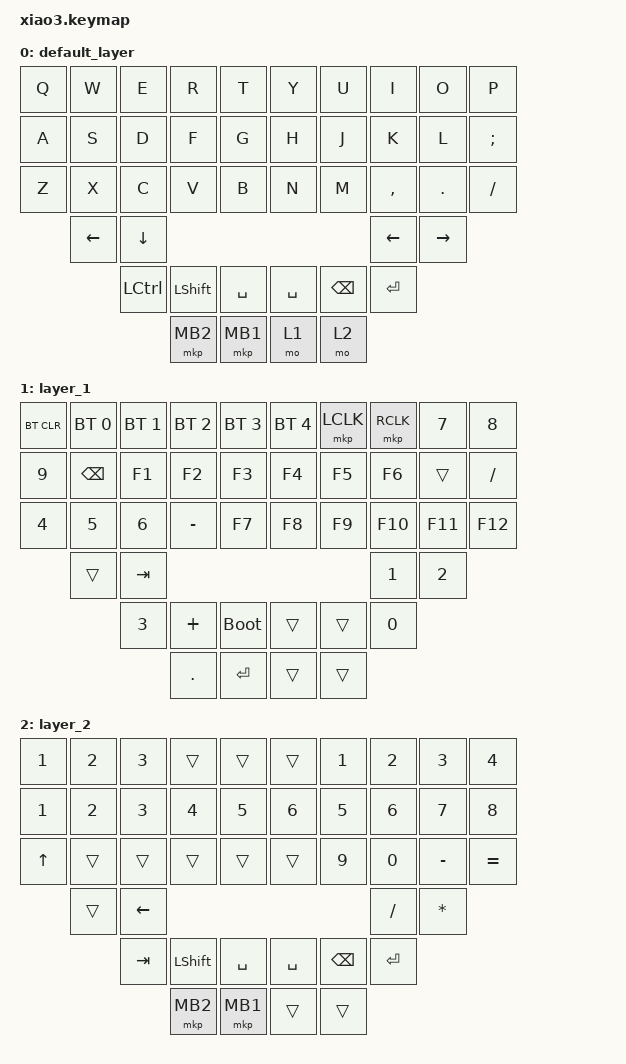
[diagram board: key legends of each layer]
/*
 * Copyright (c) 2020 The ZMK Contributors
 *
 * SPDX-License-Identifier: MIT
 */

#include <dt-bindings/led/led.h>
#include <behaviors/mouse_keys.dtsi>
#include <behaviors.dtsi>
#include <dt-bindings/zmk/bt.h>
#include <dt-bindings/zmk/keys.h>
#include <dt-bindings/zmk/mouse.h>

/ {
    keymap {
        compatible = "zmk,keymap";

        default_layer {
            bindings = <
&kp Q  &kp W           &kp E      &kp R           &kp T        &kp Y      &kp U          &kp I      &kp O      &kp P
&kp A  &kp S           &kp D      &kp F           &kp G        &kp H      &kp J          &kp K      &kp L      &kp SEMI
&kp Z  &kp X           &kp C      &kp V           &kp B        &kp N      &kp M          &kp COMMA  &kp DOT    &kp FSLH
       &kp LEFT_ARROW  &kp DOWN                                                          &kp LEFT   &kp RIGHT
                       &kp LCTRL  &kp LEFT_SHIFT  &kp SPACE    &kp SPACE  &kp BACKSPACE  &kp ENTER
                                  &mkp MB2        &mkp MB1     &mo 1      &mo 2
            >;
        };

        layer_1 {
            bindings = <
&bt BT_CLR  &bt BT_SEL 0  &bt BT_SEL 1  &bt BT_SEL 2  &bt BT_SEL 3    &bt BT_SEL 4  &mkp LCLK  &mkp RCLK  &kp N7   &kp N8
&kp N9      &kp BSPC      &kp F1        &kp F2        &kp F3          &kp F4        &kp F5     &kp F6     &trans   &kp FSLH
&kp N4      &kp N5        &kp N6        &kp MINUS     &kp F7          &kp F8        &kp F9     &kp F10    &kp F11  &kp F12
            &trans        &kp TAB                                                              &kp N1     &kp N2
                          &kp N3        &kp PLUS      &bootloader     &trans        &trans     &kp N0
                                        &kp DOT       &kp ENTER       &trans        &trans
            >;
        };

        layer_2 {
            bindings = <
&kp NUMBER_1  &kp NUMBER_2  &kp NUMBER_3  &trans          &trans          &trans        &kp NUMBER_1   &kp NUMBER_2  &kp NUMBER_3  &kp NUMBER_4
&kp NUMBER_1  &kp NUMBER_2  &kp NUMBER_3  &kp NUMBER_4    &kp NUMBER_5    &kp NUMBER_6  &kp NUMBER_5   &kp NUMBER_6  &kp NUMBER_7  &kp NUMBER_8
&kp UP        &trans        &trans        &trans          &trans          &trans        &kp NUMBER_9   &kp NUMBER_0  &kp MINUS     &kp EQUAL
              &trans        &kp LEFT                                                                   &kp SLASH     &kp ASTRK
                            &kp TAB       &kp LEFT_SHIFT  &kp SPACE       &kp SPACE     &kp BACKSPACE  &kp ENTER
                                          &mkp MB2        &mkp MB1        &trans        &trans
            >;
        };
    };
};
